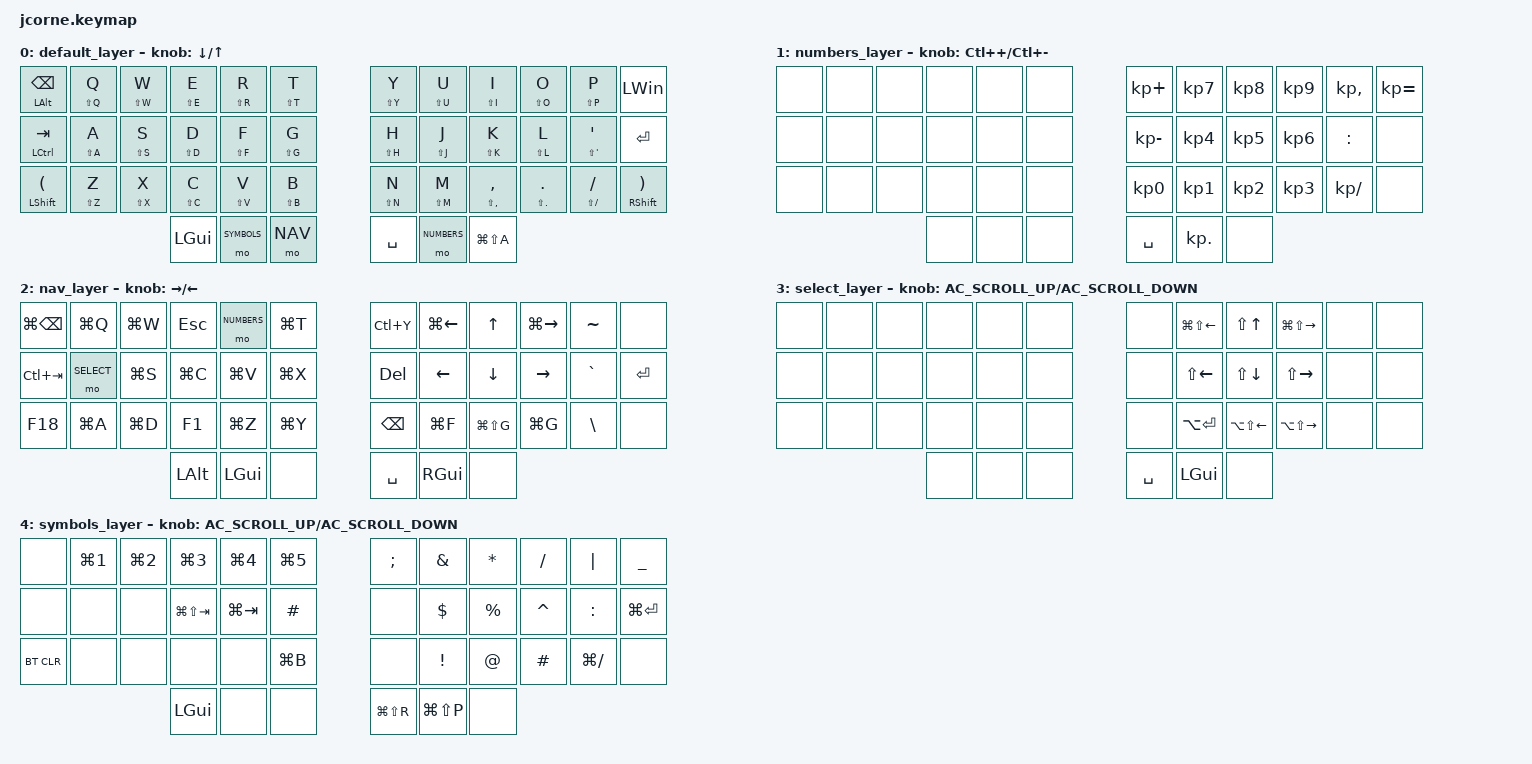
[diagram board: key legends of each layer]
/*
 * Copyright (c) 2020 The ZMK Contributors
 *
 * SPDX-License-Identifier: MIT
 */

#include <behaviors.dtsi>
#include <dt-bindings/zmk/keys.h>
#include <dt-bindings/zmk/bt.h>

#define DEFAULT 0
#define NUMBERS 1
#define NAV     2
#define SELECT  3
#define NUMBERS 4
#define SYMBOLS 5

/ {
    behaviors {
       as: auto_shift {
               compatible = "zmk,behavior-hold-tap";
               label = "AutoShift";
               #binding-cells = <2>;
               tapping-term-ms = <200>;
               quick_tap_ms = <0>;
               flavor = "tap-preferred";
               bindings = <&kp>, <&kp>;
       };
    };

        keymap {
                compatible = "zmk,keymap";

                default_layer {
// -----------------------------------------------------------------------------------------
// | ALT BSPC |  Q  |  W  |  E  |  R  |  T  |   |  Y  |  U   |  I  |  O  |  P  | LWIN   |
// | CTRL TAB |  A  |  S  |  D  |  F  |  G  |   |  H  |  J   |  K  |  L  |  '  | RET    |
// | SHFT (   |  Z  |  X  |  C  |  V  |  B  |   |  N  |  M   |  ,  |  .  |  /  | SHFT ) |
//                  | GUI  |  SYMBOLS | NAV |   | SPACE | HOTKEYS | CMD SFT A |
                        bindings = <
   &mt LALT BSPC  &as LS(Q) Q &as LS(W) W &as LS(E) E &as LS(R) R &as LS(T) T   &as LS(Y) Y &as LS(U) U &as LS(I) I &as LS(O) O &as LS(P) P &kp LWIN
   &mt LCTRL TAB  &as LS(A) A &as LS(S) S &as LS(D) D &as LS(F) F &as LS(G) G   &as LS(H) H &as LS(J) J &as LS(K) K &as LS(L) L &as LS(APOS) APOS &kp RET
   &mt LSHFT LPAR &as LS(Z) Z &as LS(X) X &as LS(C) C &as LS(V) V &as LS(B) B   &as LS(N) N &as LS(M) M &as LS(COMMA) COMMA &as LS(DOT) DOT &as LS(FSLH) FSLH &mt RSHFT RPAR
                   &kp LGUI &mo SYMBOLS &mo NAV   &kp SPACE &mo NUMBERS &kp LG(LS(A))
                        >;
                        sensor-bindings = <&inc_dec_cp DOWN_ARROW UP_ARROW>;
                };
                numbers_layer {
// -----------------------------------------------------------------------------------------
// | ESC|   1    |    2   |  3    |  4    |   5   |   |   6    |   7   |   8   |  9  |  0  | DEL |
// | GRV|   !    |    @   |  #    |  $    |   %   |   |   ^    |   &   |   *   |  (  |  )  | \ | |
// | PRT|   F1   |    F2  |  F3   |  F4   |   F5  |   |   F6   |  F7   |   F8  |  F9 | F10 | F11 |
//                        |  --   | LGUI  | LCTRL |   | SPACE  |  --   |  --   |
                        bindings = <
   &kp ESC   &kp N1        &kp N2         &kp N3    &kp N4    &kp N5     &kp N6        &kp N7       &kp N8       &kp N9   &kp N0   &kp DEL
   &kp GRAVE &kp EXCL      &kp HASH       &kp LBKT  &kp DLLR  &kp PRCNT  &KP CARET     &kp AMPS     &kp STAR     &kp LPAR &kp RPAR &kp BSLH
   &kp PSCRN &kp F1        &kp F2         &kp F3    &kp F4    &kp F5     &kp F6        &kp F7       &kp F8       &kp F9   &kp F10  &kp F11
                                          &none     &kp LGUI  &kp LCTRL  &kp SPACE     &none        &none
                        >;
                        sensor-bindings = <&inc_dec_cp C_VOL_UP C_VOL_DN>;
                };
                nav_layer {
// -----------------------------------------------------------------------------------------
// | G BSPC | LG(Q)  | LG(W) | ESC   | NUMBERS | LG(T) |   | LC(Y) | LG(LEFT) | UP        | LG(RIGHT) | ~ | --  |
// | LC TAB | SELECT | LG(S) | LG(C) | LG(V)   | LG(X) |   | DEL   | LEFT     | DOWN      | RIGHT     | ` | RET |
// | F18    | LG(A)  | LG(D) | F1    | LG(Z)   | LG(Y) |   | BSPC  | LG(F)    | LG(LS(G)) | LG(G)     | \ | --  |
//                           | LALT  | LGUI    |  --   |   | SPACE | RGUI     |    --     |
                        bindings = <
   &kp LG(BSPC) &kp LG(Q)  &kp LG(W) &kp ESC   &mo NUMBERS &kp LG(T)   &kp LC(Y) &kp LG(LEFT) &kp UP        &kp LG(RIGHT) &kp TILDE &none
   &kp LC(TAB)  &mo SELECT &kp LG(S) &kp LG(C) &kp LG(V)   &kp LG(X)   &kp DEL   &kp LEFT     &kp DOWN      &kp RIGHT     &kp GRAVE &kp RET
   &kp F18      &kp LG(A)  &kp LG(D) &kp F1    &kp LG(Z)   &kp LG(Y)   &kp BSPC  &kp LG(F)    &kp LG(LS(G)) &kp LG(G)     &kp BSLH  &none
                                     &kp LALT  &kp LGUI    &none       &kp SPACE &kp RGUI     &none
                        >;
                        sensor-bindings = <&inc_dec_cp RIGHT LEFT>;
                };
                select_layer {
// -----------------------------------------------------------------------------------------
// | -- | -- | -- | -- | -- | -- |   | --    | LG(LS(LEFT)) | LS(UP)       | LG(LS(RIGHT)) | -- | -- |
// | -- | -- | -- | -- | -- | -- |   | --    | LS(LEFT)     | LS(DOWN)     | LS(RIGHT)     | -- | -- |
// | -- | -- | -- | -- | -- | -- |   | --    | LA(RET)      | LA(LS(LEFT)) | LA(LS(RIGHT)) | -- | -- |
//                | -- | -- | -- |   | SPACE | LGUI         | -- |
                        bindings = <
   &none &none &none &none &none &none    &none     &kp LG(LS(LEFT)) &kp LS(UP)       &kp LG(LS(RIGHT)) &none &none
   &none &none &none &none &none &none    &none     &kp LS(LEFT)     &kp LS(DOWN)     &kp LS(RIGHT)     &none &none
   &none &none &none &none &none &none    &none     &kp LA(RET)      &kp LA(LS(LEFT)) &kp LA(LS(RIGHT)) &none &none
                     &none &none &none    &kp SPACE &kp LGUI         &none
                        >;
                        sensor-bindings = <&inc_dec_cp C_AC_SCROLL_UP C_AC_SCROLL_DOWN>;
                };
                numbers_layer {
// -----------------------------------------------------------------------------------------
// | -- | -- | -- | -- | -- | -- |   | + | 7 | 8 | 9 | , | = |
// | -- | -- | -- | -- | -- | -- |   | - | 4 | 5 | 6 | : |  |
// | -- | -- | -- | -- | -- | -- |   | 0 | 1 | 2 | 3 | / | -- |
//                | -- | -- | -- |   | SPACE | KP_DOT | -- |
                        bindings = <
   &none &none &none &none &none &none   &kp KP_PLUS  &kp KP_N7  &kp KP_N8 &kp KP_N9 &kp KP_COMMA  &kp KP_EQUAL
   &none &none &none &none &none &none   &kp KP_MINUS &kp KP_N4  &kp KP_N5 &kp KP_N6 &kp COLON     &none
   &none &none &none &none &none &none   &kp KP_N0    &kp KP_N1  &kp KP_N2 &kp KP_N3 &kp KP_DIVIDE &none
                     &none &none &none   &kp SPACE    &kp KP_DOT &none
                        >;
                        sensor-bindings = <&inc_dec_cp LC(PLUS) LC(MINUS)>;
                };
                symbols_layer {
// -----------------------------------------------------------------------------------------
// | --     | LG(1) | LG(2) | LG(3)       | LG(4)   | LG(5) |   | ;  | & | * | / | PIPE  |   _     |
// | --     |  --   |  --   | LG(LS(TAB)) | LG(TAB) | #     |   | -- | $ | % | ^ |  :    | LG(RET) |
// | BT_CLR |  --   |  --   |     --      |   --    | LG(B) |   | -- | ! | @ | # | LG(/) |   --    |
//                                        | LGUI  | -- | -- |   | LG(LS(R)) | LG(LS(P))  | -- |
                        bindings = <
   &none      &kp LG(N1) &kp LG(N2) &kp LG(N3)       &kp LG(N4)   &kp LG(N5)   &kp SEMI &kp AMPS   &kp ASTRK   &kp FSLH  &kp PIPE     &kp UNDER
   &none      &none      &none      &kp LG(LS(TAB))  &kp LG(TAB)  &kp HASH     &none    &kp DOLLAR &kp PERCENT &kp CARET &kp COLON    &kp LG(RET)
   &bt BT_CLR &none      &none      &none            &none        &kp LG(B)    &none    &kp EXCL   &kp AT_SIGN &kp HASH  &kp LG(FSLH) &none
                                                       &kp LGUI &none &none    &kp LG(LS(R)) &kp LG(LS(P)) &none
                        >;
                        sensor-bindings = <&inc_dec_cp C_AC_SCROLL_UP C_AC_SCROLL_DOWN>;
                };
        };
};
